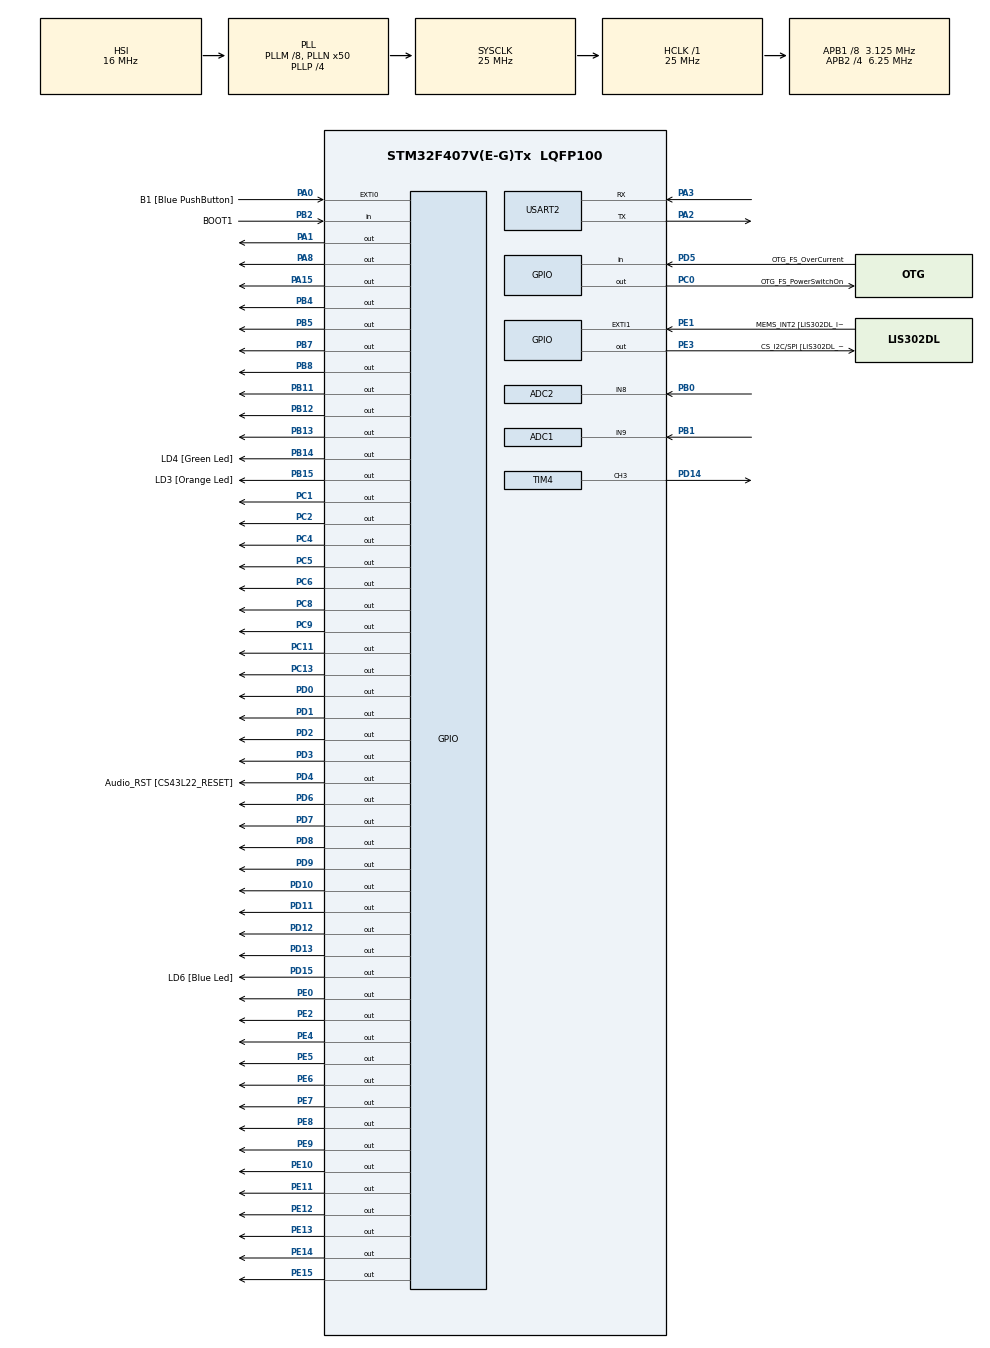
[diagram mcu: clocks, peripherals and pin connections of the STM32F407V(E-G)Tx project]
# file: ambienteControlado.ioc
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ADC1.Channel-5\#ChannelRegularConversion=ADC_CHANNEL_9
ADC1.NbrOfConversionFlag=1
ADC1.Rank-5\#ChannelRegularConversion=1
ADC1.SamplingTime-5\#ChannelRegularConversion=ADC_SAMPLETIME_3CYCLES
ADC1.master=1
ADC2.Channel-0\#ChannelRegularConversion=ADC_CHANNEL_8
ADC2.NbrOfConversionFlag=1
ADC2.Rank-0\#ChannelRegularConversion=1
ADC2.SamplingTime-0\#ChannelRegularConversion=ADC_SAMPLETIME_3CYCLES
Mcu.Family=STM32F4
Mcu.Name=STM32F407V(E-G)Tx
Mcu.Package=LQFP100
NVIC.PriorityGroup=NVIC_PRIORITYGROUP_0
PA0-WKUP.GPIO_Label=B1 [Blue PushButton]
PA0-WKUP.GPIO_ModeDefaultEXTI=GPIO_MODE_EVT_RISING
PA0-WKUP.GPIO_PuPd=GPIO_NOPULL
PA0-WKUP.Signal=GPXTI0
PA1.Signal=GPIO_Output
PA11.GPIO_Label=OTG_FS_DM
PA11.GPIO_Mode=GPIO_MODE_AF_PP
PA11.GPIO_PuPd=GPIO_NOPULL
PA11.GPIO_Speed=GPIO_SPEED_FREQ_LOW
PA11.Signal=USB_OTG_FS_DM
PA12.GPIO_Label=OTG_FS_DP
PA12.GPIO_Mode=GPIO_MODE_AF_PP
PA12.GPIO_PuPd=GPIO_NOPULL
PA12.GPIO_Speed=GPIO_SPEED_FREQ_LOW
PA12.Signal=USB_OTG_FS_DP
PA13.GPIO_Label=SWDIO
PA13.Signal=SYS_JTMS-SWDIO
PA14.GPIO_Label=SWCLK
PA14.Signal=SYS_JTCK-SWCLK
PA15.Signal=GPIO_Output
PA2.Mode=Asynchronous
PA2.Signal=USART2_TX
PA3.Mode=Asynchronous
PA3.Signal=USART2_RX
PA4.GPIO_Label=I2S3_WS [CS43L22_LRCK]
PA4.GPIO_Mode=GPIO_MODE_AF_PP
PA4.GPIO_PuPd=GPIO_NOPULL
PA4.GPIO_Speed=GPIO_SPEED_FREQ_LOW
PA4.Signal=I2S3_WS
PA5.GPIO_Label=SPI1_SCK [LIS302DL_SCL/SPC]
PA5.GPIO_Mode=GPIO_MODE_AF_PP
PA5.GPIO_PuPd=GPIO_NOPULL
PA5.GPIO_Speed=GPIO_SPEED_FREQ_LOW
PA5.Signal=SPI1_SCK
PA6.GPIO_Label=SPI1_MISO [LIS302DL_SDO]
PA6.GPIO_Mode=GPIO_MODE_AF_PP
PA6.GPIO_PuPd=GPIO_NOPULL
PA6.GPIO_Speed=GPIO_SPEED_FREQ_LOW
PA6.Signal=SPI1_MISO
PA7.GPIO_Label=SPI1_MOSI [LIS302DL_SDA/SDI/SDO]
PA7.GPIO_Mode=GPIO_MODE_AF_PP
PA7.GPIO_PuPd=GPIO_NOPULL
PA7.GPIO_Speed=GPIO_SPEED_FREQ_LOW
PA7.Signal=SPI1_MOSI
PA8.Signal=GPIO_Output
PB0.Signal=SharedAnalog_PB0
PB1.Signal=SharedAnalog_PB1
PB10.GPIO_Label=CLK_IN [MP45DT02_CLK]
PB10.GPIO_Mode=GPIO_MODE_AF_PP
PB10.GPIO_PuPd=GPIO_NOPULL
PB10.GPIO_Speed=GPIO_SPEED_FREQ_LOW
PB10.Signal=I2S2_CK
PB11.Signal=GPIO_Output
PB12.Signal=GPIO_Output
PB13.Signal=GPIO_Output
PB14.GPIO_Label=LD4 [Green Led]
PB14.Signal=GPIO_Output
PB15.GPIO_Label=LD3 [Orange Led]
PB15.Signal=GPIO_Output
PB2.GPIO_Label=BOOT1
PB2.GPIO_Mode=GPIO_MODE_INPUT
PB2.GPIO_PuPd=GPIO_NOPULL
PB2.Signal=GPIO_Input
PB3.GPIO_Label=SWO
PB3.Signal=SYS_JTDO-SWO
PB4.Signal=GPIO_Output
PB5.Signal=GPIO_Output
PB6.GPIO_Label=Audio_SCL [CS43L22_SCL]
PB6.GPIO_Mode=GPIO_MODE_AF_OD
PB6.GPIO_PuPd=GPIO_NOPULL
PB6.GPIO_Speed=GPIO_SPEED_FREQ_LOW
PB6.Signal=I2C1_SCL
PB7.Signal=GPIO_Output
PB8.Signal=GPIO_Output
PB9.GPIO_Label=Audio_SDA [CS43L22_SDA]
PB9.GPIO_Mode=GPIO_MODE_AF_OD
PB9.GPIO_PuPd=GPIO_NOPULL
PB9.GPIO_Speed=GPIO_SPEED_FREQ_LOW
PB9.Signal=I2C1_SDA
PC0.GPIO_Label=OTG_FS_PowerSwitchOn
PC0.GPIO_PuPd=GPIO_NOPULL
PC0.GPIO_Speed=GPIO_SPEED_FREQ_LOW
PC0.PinState=GPIO_PIN_SET
PC0.Signal=GPIO_Output
PC1.Signal=GPIO_Output
PC10.GPIO_Label=I2S3_SCK [CS43L22_SCLK]
PC10.GPIO_Mode=GPIO_MODE_AF_PP
PC10.GPIO_PuPd=GPIO_NOPULL
PC10.GPIO_Speed=GPIO_SPEED_FREQ_LOW
PC10.Signal=I2S3_CK
PC11.Signal=GPIO_Output
PC12.GPIO_Label=I2S3_SD [CS43L22_SDIN]
PC12.GPIO_Mode=GPIO_MODE_AF_PP
PC12.GPIO_PuPd=GPIO_NOPULL
PC12.GPIO_Speed=GPIO_SPEED_FREQ_LOW
PC12.Signal=I2S3_SD
PC13-ANTI_TAMP.Signal=GPIO_Output
PC14-OSC32_IN.GPIO_Label=PC14-OSC32_IN
PC14-OSC32_IN.Signal=RCC_OSC32_IN
PC15-OSC32_OUT.GPIO_Label=PC15-OSC32_OUT
PC15-OSC32_OUT.Signal=RCC_OSC32_OUT
PC2.Signal=GPIO_Output
PC3.GPIO_Label=PDM_OUT [MP45DT02_DOUT]
PC3.GPIO_Mode=GPIO_MODE_AF_PP
PC3.GPIO_PuPd=GPIO_NOPULL
PC3.GPIO_Speed=GPIO_SPEED_FREQ_LOW
PC3.Signal=I2S2_SD
PC4.Signal=GPIO_Output
PC5.Signal=GPIO_Output
PC6.Signal=GPIO_Output
PC7.GPIO_Label=I2S3_MCK [CS43L22_MCLK]
PC7.GPIO_Mode=GPIO_MODE_AF_PP
PC7.GPIO_PuPd=GPIO_NOPULL
PC7.GPIO_Speed=GPIO_SPEED_FREQ_LOW
PC7.Signal=I2S3_MCK
PC8.Signal=GPIO_Output
PC9.Signal=GPIO_Output
PD0.Signal=GPIO_Output
PD1.Signal=GPIO_Output
PD10.Signal=GPIO_Output
PD11.Signal=GPIO_Output
PD12.Signal=GPIO_Output
PD13.Signal=GPIO_Output
PD14.Signal=S_TIM4_CH3
PD15.GPIO_Label=LD6 [Blue Led]
PD15.GPIO_PuPd=GPIO_NOPULL
PD15.GPIO_Speed=GPIO_SPEED_FREQ_LOW
PD15.Signal=GPIO_Output
PD2.Signal=GPIO_Output
PD3.Signal=GPIO_Output
PD4.GPIO_Label=Audio_RST [CS43L22_RESET]
PD4.GPIO_PuPd=GPIO_NOPULL
PD4.GPIO_Speed=GPIO_SPEED_FREQ_LOW
PD4.Signal=GPIO_Output
PD5.GPIO_Label=OTG_FS_OverCurrent
PD5.GPIO_Mode=GPIO_MODE_INPUT
PD5.GPIO_PuPd=GPIO_NOPULL
PD5.Signal=GPIO_Input
PD6.Signal=GPIO_Output
PD7.Signal=GPIO_Output
PD8.Signal=GPIO_Output
PD9.Signal=GPIO_Output
PE0.Signal=GPIO_Output
PE1.GPIO_Label=MEMS_INT2 [LIS302DL_INT2]
PE1.GPIO_ModeDefaultEXTI=GPIO_MODE_EVT_RISING
PE1.GPIO_PuPd=GPIO_NOPULL
PE1.Signal=GPXTI1
PE10.Signal=GPIO_Output
PE11.Signal=GPIO_Output
PE12.Signal=GPIO_Output
PE13.Signal=GPIO_Output
PE14.Signal=GPIO_Output
PE15.Signal=GPIO_Output
PE2.Signal=GPIO_Output
PE3.GPIO_Label=CS_I2C/SPI [LIS302DL_CS_I2C/SPI]
PE3.GPIO_PuPd=GPIO_NOPULL
PE3.GPIO_Speed=GPIO_SPEED_FREQ_LOW
PE3.Signal=GPIO_Output
PE4.Signal=GPIO_Output
PE5.Signal=GPIO_Output
PE6.Signal=GPIO_Output
PE7.Signal=GPIO_Output
PE8.Signal=GPIO_Output
PE9.Signal=GPIO_Output
PH0-OSC_IN.GPIO_Label=PH0-OSC_IN
PH0-OSC_IN.Signal=RCC_OSC_IN
PH1-OSC_OUT.GPIO_Label=PH1-OSC_OUT
PH1-OSC_OUT.Signal=RCC_OSC_OUT
ProjectManager.HeapSize=0x200
ProjectManager.StackSize=0x400
ProjectManager.TargetToolchain=MDK-ARM V4
RCC.48MHZClocksFreq_Value=14285714.285714285
RCC.AHBFreq_Value=25000000
RCC.APB1CLKDivider=RCC_HCLK_DIV8
RCC.APB1Freq_Value=3125000
RCC.APB1TimFreq_Value=6250000
RCC.APB2CLKDivider=RCC_HCLK_DIV4
RCC.APB2Freq_Value=6250000
RCC.APB2TimFreq_Value=12500000
RCC.CortexFreq_Value=25000000
RCC.HCLKFreq_Value=25000000
RCC.HSE_VALUE=8000000
RCC.HSI_VALUE=16000000
RCC.LSE_VALUE=32768
RCC.PLLM=8
RCC.PLLN=50
RCC.PLLP=RCC_PLLP_DIV4
RCC.PLLQ=7
RCC.SYSCLKFreq_VALUE=25000000
RCC.SYSCLKSource=RCC_SYSCLKSOURCE_PLLCLK
RCC.VCOOutputFreq_Value=100000000
SH.S_TIM4_CH3.0=TIM4_CH3,PWM Generation3 CH3
SH.SharedAnalog_PB0.0=GPIO_Analog
SH.SharedAnalog_PB0.1=ADC2_IN8,IN8
SH.SharedAnalog_PB1.0=GPIO_Analog
SH.SharedAnalog_PB1.1=ADC1_IN9,IN9
TIM4.Channel-PWM\ Generation3\ CH3=TIM_CHANNEL_3
USART2.VirtualMode=VM_ASYNC
VP_TIM4_VS_ClockSourceINT.Mode=Internal
board=STM32F4DISCOVERY

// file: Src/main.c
/**
  ******************************************************************************
  * File Name          : main.c
  * Description        : Main program body
  ******************************************************************************
  ** This notice applies to any and all portions of this file
  * that are not between comment pairs USER CODE BEGIN and
  * USER CODE END. Other portions of this file, whether
  * inserted by the user or by software development tools
  * are owned by their respective copyright owners.
  *
  * COPYRIGHT(c) 2018 STMicroelectronics
  *
  * Redistribution and use in source and binary forms, with or without modification,
  * are permitted provided that the following conditions are met:
  *   1. Redistributions of source code must retain the above copyright notice,
  *      this list of conditions and the following disclaimer.
  *   2. Redistributions in binary form must reproduce the above copyright notice,
  *      this list of conditions and the following disclaimer in the documentation
  *      and/or other materials provided with the distribution.
  *   3. Neither the name of STMicroelectronics nor the names of its contributors
  *      may be used to endorse or promote products derived from this software
  *      without specific prior written permission.
  *
  * THIS SOFTWARE IS PROVIDED BY THE COPYRIGHT HOLDERS AND CONTRIBUTORS "AS IS"
  * AND ANY EXPRESS OR IMPLIED WARRANTIES, INCLUDING, BUT NOT LIMITED TO, THE
  * IMPLIED WARRANTIES OF MERCHANTABILITY AND FITNESS FOR A PARTICULAR PURPOSE ARE
  * DISCLAIMED. IN NO EVENT SHALL THE COPYRIGHT HOLDER OR CONTRIBUTORS BE LIABLE
  * FOR ANY DIRECT, INDIRECT, INCIDENTAL, SPECIAL, EXEMPLARY, OR CONSEQUENTIAL
  * DAMAGES (INCLUDING, BUT NOT LIMITED TO, PROCUREMENT OF SUBSTITUTE GOODS OR
  * SERVICES; LOSS OF USE, DATA, OR PROFITS; OR BUSINESS INTERRUPTION) HOWEVER
  * CAUSED AND ON ANY THEORY OF LIABILITY, WHETHER IN CONTRACT, STRICT LIABILITY,
  * OR TORT (INCLUDING NEGLIGENCE OR OTHERWISE) ARISING IN ANY WAY OUT OF THE USE
  * OF THIS SOFTWARE, EVEN IF ADVISED OF THE POSSIBILITY OF SUCH DAMAGE.
  *
  ******************************************************************************
  */

#include "main.h"
#include "stm32f4xx_hal.h"
#include "adc.h"
#include "tim.h"
#include "usart.h"
#include "gpio.h"

/* USER CODE BEGIN Includes */
#include <stdbool.h>
#include "stm32f4xx_hal_tim.h"
#include "stm32f4xx_hal_tim_ex.h"
/* USER CODE END Includes */

/* USER CODE BEGIN PV */
/* Private variables ---------------------------------------------------------*/
int ADC_Value;
//uint16_t vetorB[10] = {0xF90, 0x900, 0x788, 0xD88, 0x918, 0xC98, 0xE98, 0x980, 0xF98, 0xD98};
//uint16_t vetorC[10] = {0xAD8, 0x840, 0x2D4, 0xA54, 0x84C, 0xA1C, 0xA9C, 0x850, 0xADC, 0xA5C};
uint8_t vetorD[10] = {0xBE, 0x88, 0x3d, 0xad, 0x8b, 0xa7, 0xb7, 0x8c, 0xbf, 0xaf};
uint8_t vetorE[10] = {0xfc, 0x90, 0x7a, 0xda, 0x96, 0xce, 0xee, 0x98, 0xfe, 0xde};
/* USER CODE END PV */

void SystemClock_Config(void);

/* USER CODE BEGIN PFP */
/* Private function prototypes -----------------------------------------------*/
void writeToLeftDisplays(int);
void setPWM(TIM_HandleTypeDef, uint32_t, uint16_t);

/* USER CODE END PFP */

int main(void)
{

  /* USER CODE BEGIN 1 */
	int temperatura, referencia = 40, count, temperaturaAnterior, erro;
	bool apertado, controleAtivo;
	float integral = 0, derivada, ganhoIn=25, ganhoDer=30, ganhoP=130, pwm;
	apertado = false;
	controleAtivo = false;
	uint8_t buffer[7] = "t";
  /* USER CODE END 1 */

  /* MCU Configuration----------------------------------------------------------*/

  /* Reset of all peripherals, Initializes the Flash interface and the Systick. */
  HAL_Init();

  /* Configure the system clock */
  SystemClock_Config();

  /* Initialize all configured peripherals */
  MX_GPIO_Init();
  MX_ADC1_Init();
  MX_ADC2_Init();
  MX_TIM4_Init();
  MX_USART2_UART_Init();

  /* USER CODE BEGIN 2 */
	HAL_ADC_Start(&hadc1);
	HAL_ADC_Start(&hadc2);
	MX_TIM4_Init();
	setPWM(htim4, TIM_CHANNEL_3,2048);
  /* USER CODE END 2 */

  /* Infinite loop */
  /* USER CODE BEGIN WHILE */
	count = 0;
	float paramA = 4095/(40-referencia);
	float paramB = -paramA*referencia;
  while (1)
  {
		//HAL_UART_Receive(&huart1, buffer, sizeof(buffer), HAL_MAX_DELAY);

		if (!apertado && HAL_GPIO_ReadPin(B1_GPIO_Port, B1_Pin) == GPIO_PIN_SET) { //Se botão apertado
			HAL_GPIO_TogglePin(GPIOC, GPIO_PIN_1); // porta para ativar lâmpada
			HAL_GPIO_TogglePin(GPIOD, GPIO_PIN_13); //led para indicar ligado
			controleAtivo = !controleAtivo; //liga e desliga o sistema de controle e exibição
			apertado = true;
		}
		if (HAL_GPIO_ReadPin(B1_GPIO_Port, B1_Pin) == GPIO_PIN_RESET) apertado = false;

		/*
		1000 => 0.714 V
		2000 => 1.445 V
		3000 => 2.140 V

		V = 7 + 713*((float)N/1000) (em mV)
		T = V/10 (V em mV)
	*/

		if (controleAtivo) { //sistema de controle e exibição
			if (count == 0) { //atualiza a temperatura no display a cada 30 iterações do while
				if (HAL_ADC_PollForConversion(&hadc1, 5000) == HAL_OK) {
					temperaturaAnterior = temperatura;
					temperatura = HAL_ADC_GetValue(&hadc1);
					temperatura =(int)((float) temperatura * 2800/(0xFFF*13)); //int 12 bits para tensão
					erro = referencia - temperatura;
					integral += (pwm < 4095 && pwm > 0) ? 1.5*erro: 0;
					derivada  = (temperatura - temperaturaAnterior)/1.5;
					pwm = ganhoDer*derivada - ganhoIn*integral - ganhoP*erro;
					//setPWM(htim4, TIM_CHANNEL_3,(temperatura > referencia) ? paramA*temperatura + paramB : 0);
					setPWM(htim4, TIM_CHANNEL_3, pwm);
					sprintf((char *)buffer, "t%d%d", referencia, temperatura);
					HAL_UART_Transmit(&huart2, buffer, sizeof(buffer), 10);
					if (temperatura > 99) {

						writeToLeftDisplays(99);
					} else {

					writeToLeftDisplays(temperatura);
					}
				}
			}
			count++;
			if (count == 31) count = 0;
		}
		else { //Desligando
			writeToLeftDisplays(0);
			HAL_GPIO_WritePin(GPIOE, GPIO_PIN_All & ~GPIO_PIN_15 & ~GPIO_PIN_14, GPIO_PIN_RESET);
			HAL_GPIO_WritePin(GPIOD, GPIO_PIN_All & ~GPIO_PIN_14, GPIO_PIN_RESET);
			HAL_GPIO_WritePin(GPIOB, GPIO_PIN_1, GPIO_PIN_RESET);
			HAL_GPIO_WritePin(GPIOC, GPIO_PIN_1, GPIO_PIN_RESET);

		}

  /* USER CODE END WHILE */

  /* USER CODE BEGIN 3 */

		HAL_Delay(50);
  }
  /* USER CODE END 3 */

}

/** System Clock Configuration
*/
void SystemClock_Config(void)
{

  RCC_OscInitTypeDef RCC_OscInitStruct;
  RCC_ClkInitTypeDef RCC_ClkInitStruct;

    /**Configure the main internal regulator output voltage
    */
  __HAL_RCC_PWR_CLK_ENABLE();

  __HAL_PWR_VOLTAGESCALING_CONFIG(PWR_REGULATOR_VOLTAGE_SCALE1);

    /**Initializes the CPU, AHB and APB busses clocks
    */
  RCC_OscInitStruct.OscillatorType = RCC_OSCILLATORTYPE_HSI;
  RCC_OscInitStruct.HSIState = RCC_HSI_ON;
  RCC_OscInitStruct.HSICalibrationValue = 16;
  RCC_OscInitStruct.PLL.PLLState = RCC_PLL_ON;
  RCC_OscInitStruct.PLL.PLLSource = RCC_PLLSOURCE_HSI;
  RCC_OscInitStruct.PLL.PLLM = 8;
  RCC_OscInitStruct.PLL.PLLN = 50;
  RCC_OscInitStruct.PLL.PLLP = RCC_PLLP_DIV4;
  RCC_OscInitStruct.PLL.PLLQ = 7;
  if (HAL_RCC_OscConfig(&RCC_OscInitStruct) != HAL_OK)
  {
    _Error_Handler(__FILE__, __LINE__);
  }

    /**Initializes the CPU, AHB and APB busses clocks
    */
  RCC_ClkInitStruct.ClockType = RCC_CLOCKTYPE_HCLK|RCC_CLOCKTYPE_SYSCLK
                              |RCC_CLOCKTYPE_PCLK1|RCC_CLOCKTYPE_PCLK2;
  RCC_ClkInitStruct.SYSCLKSource = RCC_SYSCLKSOURCE_PLLCLK;
  RCC_ClkInitStruct.AHBCLKDivider = RCC_SYSCLK_DIV1;
  RCC_ClkInitStruct.APB1CLKDivider = RCC_HCLK_DIV8;
  RCC_ClkInitStruct.APB2CLKDivider = RCC_HCLK_DIV4;

  if (HAL_RCC_ClockConfig(&RCC_ClkInitStruct, FLASH_LATENCY_0) != HAL_OK)
  {
    _Error_Handler(__FILE__, __LINE__);
  }

    /**Configure the Systick interrupt time
    */
  HAL_SYSTICK_Config(HAL_RCC_GetHCLKFreq()/1000);

    /**Configure the Systick
    */
  HAL_SYSTICK_CLKSourceConfig(SYSTICK_CLKSOURCE_HCLK);

  /* SysTick_IRQn interrupt configuration */
  HAL_NVIC_SetPriority(SysTick_IRQn, 0, 0);
}

/* USER CODE BEGIN 4 */

void writeToLeftDisplays(int number) {

		int dezena = number / 10;
	  int unidade = number % 10;
		HAL_GPIO_WritePin(GPIOD, GPIO_PIN_All & ~GPIO_PIN_14, GPIO_PIN_RESET);
		HAL_GPIO_WritePin(GPIOE, GPIO_PIN_All, GPIO_PIN_RESET);
		HAL_GPIO_WritePin(GPIOD, vetorD[dezena] << 8, GPIO_PIN_SET);
	  HAL_GPIO_WritePin(GPIOE, vetorE[unidade] << 6, GPIO_PIN_SET);

}

void setPWM(TIM_HandleTypeDef timer, uint32_t channel, uint16_t pulse) {
  HAL_TIM_PWM_Stop(&timer, channel);
// stop generation of pwm
  TIM_OC_InitTypeDef sConfigOC;
  timer.Init.Period = 4095;
// set the period duration
  HAL_TIM_PWM_Init(&timer);
// reinititialise with new period value
  sConfigOC.OCMode = TIM_OCMODE_PWM1;
  sConfigOC.Pulse = pulse;
// set the pulse duration
  sConfigOC.OCPolarity = TIM_OCPOLARITY_HIGH;
  sConfigOC.OCFastMode = TIM_OCFAST_DISABLE;
  HAL_TIM_PWM_ConfigChannel(&timer, &sConfigOC, channel);
  HAL_TIM_PWM_Start(&timer, channel);
// start pwm generation
}

/* USER CODE END 4 */

void _Error_Handler(char * file, int line)
{
  while(1)
  {
  }
}

/************************ (C) COPYRIGHT STMicroelectronics *****END OF FILE****/
